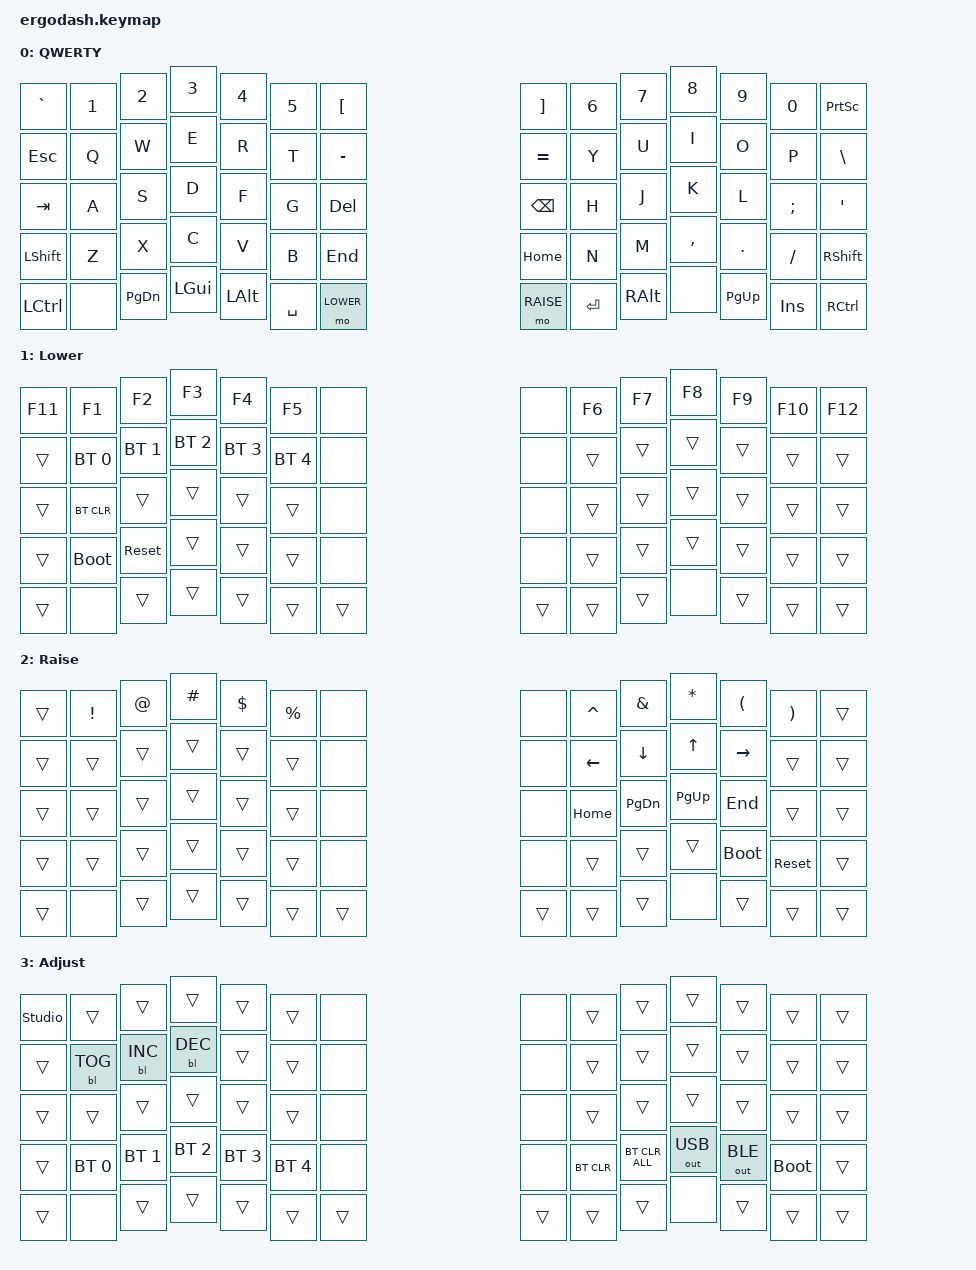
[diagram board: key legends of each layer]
/*
 * ErgoDash FT keymap
 *
 * Klasyczny układ ErgoDash + warstwa ADJ z BT/bootloader/backlight/studio_unlock
 * Backlight: 70 LED 3mm sterowane przez MOSFET na pinie D10 (P0.09), PWM
 * Kompatybilne z ZMK Studio (lewa połówka = central, USB)
 *
 * Warstwy:
 *   0 DEFAULT - QWERTY, klasyczny układ ErgoDash
 *   1 LOWER   - F-keys, BT, bootloader (podtrzymanie konwencji ErgoDash)
 *   2 RAISE   - cyfry/symbole/strzałki
 *   3 ADJ     - dostęp do studio_unlock, backlight, dodatkowe funkcje
 *               (aktywowana przez LOWER + RAISE)
 */

#include <behaviors.dtsi>
#include <dt-bindings/zmk/keys.h>
#include <dt-bindings/zmk/bt.h>
#include <dt-bindings/zmk/backlight.h>
#include <dt-bindings/zmk/outputs.h>
#include <physical_layouts.dtsi>

#define DEFAULT 0
#define LOWER   1
#define RAISE   2
#define ADJ     3

/*
 * Backlight - PWM na pinie D10 = P0.09
 * MOSFET N-channel sterujący wszystkimi 70 LED (35 per strona).
 * Ten sam pin na obu połówkach - na każdej działa lokalnie.
 */
&pinctrl {
    pwm0_default: pwm0_default {
        group1 {
            psels = <NRF_PSEL(PWM_OUT0, 0, 9)>;
        };
    };

    pwm0_sleep: pwm0_sleep {
        group1 {
            psels = <NRF_PSEL(PWM_OUT0, 0, 9)>;
            low-power-enable;
        };
    };
};

&pwm0 {
    status = "okay";
    pinctrl-0 = <&pwm0_default>;
    pinctrl-1 = <&pwm0_sleep>;
    pinctrl-names = "default", "sleep";
};

/ {
    /*
     * Usuwamy zmk,matrix-transform z chosen, które shield ergodash dziedziczy
     * z upstream. Bez tego ZMK Studio nie wykryłby naszego physical-layout.
     */
    chosen {
        /delete-property/ zmk,matrix-transform;
        zmk,backlight = &backlight;
        zmk,physical-layout = &ergodash_physical_layout;
    };

    backlight: pwmleds {
        compatible = "pwm-leds";
        pwm_led_0 {
            pwms = <&pwm0 0 10000 PWM_POLARITY_NORMAL>;
        };
    };

    /*
     * Physical layout dla ZMK Studio.
     * Shield ergodash w upstream nie ma własnego layoutu - definiujemy go tutaj.
     * 70 klawiszy w klasycznym układzie ErgoDash z column staggerem (palec
     * środkowy najwyżej, mały palec najniżej).
     */
    ergodash_physical_layout: ergodash_physical_layout {
        compatible = "zmk,physical-layout";
        display-name = "Default";
        transform = <&default_transform>;
        kscan = <&kscan0>;

        keys  //                     w   h     x     y    rot    rx    ry
            = <&key_physical_attrs 100 100     0    35      0     0     0>
            , <&key_physical_attrs 100 100   100    35      0     0     0>
            , <&key_physical_attrs 100 100   200    15      0     0     0>
            , <&key_physical_attrs 100 100   300     0      0     0     0>
            , <&key_physical_attrs 100 100   400    15      0     0     0>
            , <&key_physical_attrs 100 100   500    35      0     0     0>
            , <&key_physical_attrs 100 100   600    35      0     0     0>
            , <&key_physical_attrs 100 100  1000    35      0     0     0>
            , <&key_physical_attrs 100 100  1100    35      0     0     0>
            , <&key_physical_attrs 100 100  1200    15      0     0     0>
            , <&key_physical_attrs 100 100  1300     0      0     0     0>
            , <&key_physical_attrs 100 100  1400    15      0     0     0>
            , <&key_physical_attrs 100 100  1500    35      0     0     0>
            , <&key_physical_attrs 100 100  1600    35      0     0     0>
            , <&key_physical_attrs 100 100     0   135      0     0     0>
            , <&key_physical_attrs 100 100   100   135      0     0     0>
            , <&key_physical_attrs 100 100   200   115      0     0     0>
            , <&key_physical_attrs 100 100   300   100      0     0     0>
            , <&key_physical_attrs 100 100   400   115      0     0     0>
            , <&key_physical_attrs 100 100   500   135      0     0     0>
            , <&key_physical_attrs 100 100   600   135      0     0     0>
            , <&key_physical_attrs 100 100  1000   135      0     0     0>
            , <&key_physical_attrs 100 100  1100   135      0     0     0>
            , <&key_physical_attrs 100 100  1200   115      0     0     0>
            , <&key_physical_attrs 100 100  1300   100      0     0     0>
            , <&key_physical_attrs 100 100  1400   115      0     0     0>
            , <&key_physical_attrs 100 100  1500   135      0     0     0>
            , <&key_physical_attrs 100 100  1600   135      0     0     0>
            , <&key_physical_attrs 100 100     0   235      0     0     0>
            , <&key_physical_attrs 100 100   100   235      0     0     0>
            , <&key_physical_attrs 100 100   200   215      0     0     0>
            , <&key_physical_attrs 100 100   300   200      0     0     0>
            , <&key_physical_attrs 100 100   400   215      0     0     0>
            , <&key_physical_attrs 100 100   500   235      0     0     0>
            , <&key_physical_attrs 100 100   600   235      0     0     0>
            , <&key_physical_attrs 100 100  1000   235      0     0     0>
            , <&key_physical_attrs 100 100  1100   235      0     0     0>
            , <&key_physical_attrs 100 100  1200   215      0     0     0>
            , <&key_physical_attrs 100 100  1300   200      0     0     0>
            , <&key_physical_attrs 100 100  1400   215      0     0     0>
            , <&key_physical_attrs 100 100  1500   235      0     0     0>
            , <&key_physical_attrs 100 100  1600   235      0     0     0>
            , <&key_physical_attrs 100 100     0   335      0     0     0>
            , <&key_physical_attrs 100 100   100   335      0     0     0>
            , <&key_physical_attrs 100 100   200   315      0     0     0>
            , <&key_physical_attrs 100 100   300   300      0     0     0>
            , <&key_physical_attrs 100 100   400   315      0     0     0>
            , <&key_physical_attrs 100 100   500   335      0     0     0>
            , <&key_physical_attrs 100 100   600   335      0     0     0>
            , <&key_physical_attrs 100 100  1000   335      0     0     0>
            , <&key_physical_attrs 100 100  1100   335      0     0     0>
            , <&key_physical_attrs 100 100  1200   315      0     0     0>
            , <&key_physical_attrs 100 100  1300   300      0     0     0>
            , <&key_physical_attrs 100 100  1400   315      0     0     0>
            , <&key_physical_attrs 100 100  1500   335      0     0     0>
            , <&key_physical_attrs 100 100  1600   335      0     0     0>
            , <&key_physical_attrs 100 100     0   435      0     0     0>
            , <&key_physical_attrs 100 100   100   435      0     0     0>
            , <&key_physical_attrs 100 100   200   415      0     0     0>
            , <&key_physical_attrs 100 100   300   400      0     0     0>
            , <&key_physical_attrs 100 100   400   415      0     0     0>
            , <&key_physical_attrs 100 100   500   435      0     0     0>
            , <&key_physical_attrs 100 100   600   435      0     0     0>
            , <&key_physical_attrs 100 100  1000   435      0     0     0>
            , <&key_physical_attrs 100 100  1100   435      0     0     0>
            , <&key_physical_attrs 100 100  1200   415      0     0     0>
            , <&key_physical_attrs 100 100  1300   400      0     0     0>
            , <&key_physical_attrs 100 100  1400   415      0     0     0>
            , <&key_physical_attrs 100 100  1500   435      0     0     0>
            , <&key_physical_attrs 100 100  1600   435      0     0     0>
            ;
    };

    /*
     * Combo dostępu do warstwy ADJ:
     * Tylko aktywne gdy oba LOWER i RAISE są wciśnięte.
     */
    conditional_layers {
        compatible = "zmk,conditional-layers";
        tri_layer {
            if-layers = <LOWER RAISE>;
            then-layer = <ADJ>;
        };
    };

    keymap {
        compatible = "zmk,keymap";

        default_layer {
            display-name = "QWERTY";
/* QWERTY - klasyczny ErgoDash
 * .----------------------------------------------------------------------------------------------------------------------.
 * |  `   |   1  |   2  |   3  |   4  |   5  |  [   |                    |  ]   |   6  |   7  |   8  |   9  |   0  | PScr |
 * |------+------+------+------+------+------+------+--------------------+------+------+------+------+------+------+------|
 * | ESC  |   Q  |   W  |   E  |   R  |   T  |  -   |                    |  =   |   Y  |   U  |   I  |   O  |   P  |  \   |
 * |------+------+------+------+------+------+------+--------------------+------+------+------+------+------+------+------|
 * | Tab  |   A  |   S  |   D  |   F  |   G  | Del  |                    | Bksp |   H  |   J  |   K  |   L  |   ;  |  '   |
 * |------+------+------+------+------+------+---------------------------+------+------+------+------+------+------+------|
 * | Shift|   Z  |   X  |   C  |   V  |   B  | End  |                    | Home |   N  |   M  |   ,  |   .  |   /  | Shift|
 * |-------------+------+------+------+------+------+------+------+------+------+------+------+------+------+-------------|
 * | Ctrl |      | PgDn | Win  |||||||| Alt  | Space| Lower|||||||| Raise| Enter| RAlt ||||||||      | PgUp | Ins  | RCtrl|
 * .----------------------------------------------------------------------------------------------------------------------.
 */
            bindings = <
&kp GRAVE  &kp N1     &kp N2     &kp N3     &kp N4     &kp N5     &kp LBKT                            &kp RBKT   &kp N6     &kp N7     &kp N8     &kp N9     &kp N0     &kp PSCRN
&kp ESC    &kp Q      &kp W      &kp E      &kp R      &kp T      &kp MINUS                           &kp EQUAL  &kp Y      &kp U      &kp I      &kp O      &kp P      &kp BSLH
&kp TAB    &kp A      &kp S      &kp D      &kp F      &kp G      &kp DEL                             &kp BSPC   &kp H      &kp J      &kp K      &kp L      &kp SEMI   &kp SQT
&kp LSHFT  &kp Z      &kp X      &kp C      &kp V      &kp B      &kp END                             &kp HOME   &kp N      &kp M      &kp COMMA  &kp DOT    &kp FSLH   &kp RSHFT
&kp LCTRL  &none      &kp PG_DN  &kp LGUI   &kp LALT   &kp SPACE  &mo LOWER                           &mo RAISE  &kp RET    &kp RALT   &none      &kp PG_UP  &kp INS    &kp RCTRL
            >;
        };

        lower_layer {
            display-name = "Lower";
/* LOWER - F-keys, BT, system
 * .----------------------------------------------------------------------------------------------------------------------.
 * |  F11 |  F1  |  F2  |  F3  |  F4  |  F5  |      |                    |      |  F6  |  F7  |  F8  |  F9  |  F10 |  F12 |
 * |------+------+------+------+------+------+------+--------------------+------+------+------+------+------+------+------|
 * |      | BT 0 | BT 1 | BT 2 | BT 3 | BT 4 |      |                    |      |      |      |      |      |      |      |
 * |------+------+------+------+------+------+------+--------------------+------+------+------+------+------+------+------|
 * |      |BT CLR|      |      |      |      |      |                    |      |      |      |      |      |      |      |
 * |------+------+------+------+------+------+---------------------------+------+------+------+------+------+------+------|
 * | Shift| Boot | Reset|      |      |      |      |                    |      |      |      |      |      |      | Shift|
 * |-------------+------+------+------+------+------+------+------+------+------+------+------+------+------+-------------|
 * | Ctrl |      |      |  Win |||||||| Alt  |      | Lower|||||||| Raise|      | RAlt ||||||||      |      |      | RCtrl|
 * .----------------------------------------------------------------------------------------------------------------------.
 */
            bindings = <
&kp F11    &kp F1        &kp F2        &kp F3        &kp F4        &kp F5        &none                              &none   &kp F6  &kp F7  &kp F8  &kp F9  &kp F10  &kp F12
&trans     &bt BT_SEL 0  &bt BT_SEL 1  &bt BT_SEL 2  &bt BT_SEL 3  &bt BT_SEL 4  &none                              &none   &trans  &trans  &trans  &trans  &trans   &trans
&trans     &bt BT_CLR    &trans        &trans        &trans        &trans        &none                              &none   &trans  &trans  &trans  &trans  &trans   &trans
&trans     &bootloader   &sys_reset    &trans        &trans        &trans        &none                              &none   &trans  &trans  &trans  &trans  &trans   &trans
&trans     &none         &trans        &trans        &trans        &trans        &trans                             &trans  &trans  &trans  &none   &trans  &trans   &trans
            >;
        };

        raise_layer {
            display-name = "Raise";
/* RAISE - symbole, strzałki
 * .----------------------------------------------------------------------------------------------------------------------.
 * |      |  !   |  @   |  #   |  $   |  %   |      |                    |      |  ^   |  &   |  *   |  (   |  )   |      |
 * |------+------+------+------+------+------+------+--------------------+------+------+------+------+------+------+------|
 * |      |      |      |      |      |      |      |                    |      |  Lt  |  Dn  |  Up  |  Rt  |      |      |
 * |------+------+------+------+------+------+------+--------------------+------+------+------+------+------+------+------|
 * |      |      |      |      |      |      |      |                    |      | HOME |PG_DN | PG_UP|  END |      |      |
 * |------+------+------+------+------+------+---------------------------+------+------+------+------+------+------+------|
 * | Shift|      |      |      |      |      |      |                    |      |      |      |      | Boot | Reset| Shift|
 * |-------------+------+------+------+------+------+------+------+------+------+------+------+------+------+-------------|
 * | Ctrl |      |      |  Win |||||||| Alt  |      | Lower|||||||| Raise|      | RAlt ||||||||      |      |      | RCtrl|
 * .----------------------------------------------------------------------------------------------------------------------.
 */
            bindings = <
&trans  &kp EXCL   &kp AT      &kp HASH    &kp DLLR    &kp PRCNT  &none                              &none   &kp CARET  &kp AMPS   &kp ASTRK  &kp LPAR     &kp RPAR    &trans
&trans  &trans     &trans      &trans      &trans      &trans     &none                              &none   &kp LEFT   &kp DOWN   &kp UP     &kp RIGHT    &trans      &trans
&trans  &trans     &trans      &trans      &trans      &trans     &none                              &none   &kp HOME   &kp PG_DN  &kp PG_UP  &kp END      &trans      &trans
&trans  &trans     &trans      &trans      &trans      &trans     &none                              &none   &trans     &trans     &trans     &bootloader  &sys_reset  &trans
&trans  &none      &trans      &trans      &trans      &trans     &trans                             &trans  &trans     &trans     &none      &trans       &trans      &trans
            >;
        };

        adj_layer {
            display-name = "Adjust";
/* ADJ - aktywowana przez LOWER + RAISE jednocześnie
 *  Backlight (BL_TOG / BL_INC / BL_DEC), studio_unlock, BT
 * .----------------------------------------------------------------------------------------------------------------------.
 * |      |      |      |      |      |      |      |                    |      |      |      |      |      |      |      |
 * |------+------+------+------+------+------+------+--------------------+------+------+------+------+------+------+------|
 * |      |BL TOG|BL INC|BL DEC|      |      |      |                    |      |      |      |      |      |      |      |
 * |------+------+------+------+------+------+------+--------------------+------+------+------+------+------+------+------|
 * |      |UNLOCK|      |      |      |      |      |                    |      |      |      |      |      |      |      |
 * |------+------+------+------+------+------+---------------------------+------+------+------+------+------+------+------|
 * |      |OUT TG|OUT BT|OUT US|      |      |      |                    |      |      |      |      |      |      |      |
 * |-------------+------+------+------+------+------+------+------+------+------+------+------+------+------+-------------|
 * |      |      |      |      |||||||      |      |      |||||||      |      |      ||||||||      |      |      |      |
 * .----------------------------------------------------------------------------------------------------------------------.
 */
            bindings = <
&studio_unlock  &trans        &trans        &trans        &trans        &trans        &none                                  &none        &trans          &trans        &trans        &trans       &trans  &trans
&trans          &bl BL_TOG    &bl BL_INC    &bl BL_DEC    &trans        &trans        &none                                  &none        &trans          &trans        &trans        &trans       &trans  &trans
&trans          &trans        &trans        &trans        &trans        &trans        &none                                  &none        &trans          &trans        &trans        &trans       &trans  &trans
&trans          &bt BT_SEL 0  &bt BT_SEL 1  &bt BT_SEL 2  &bt BT_SEL 3  &bt BT_SEL 4  &none                                  &none        &bt BT_CLR      &bt BT_CLR_ALL  &out OUT_USB  &out OUT_BLE &bootloader  &trans
&trans          &none         &trans        &trans        &trans        &trans        &trans                                 &trans       &trans          &trans        &none         &trans       &trans  &trans
            >;
        };
    };
};
